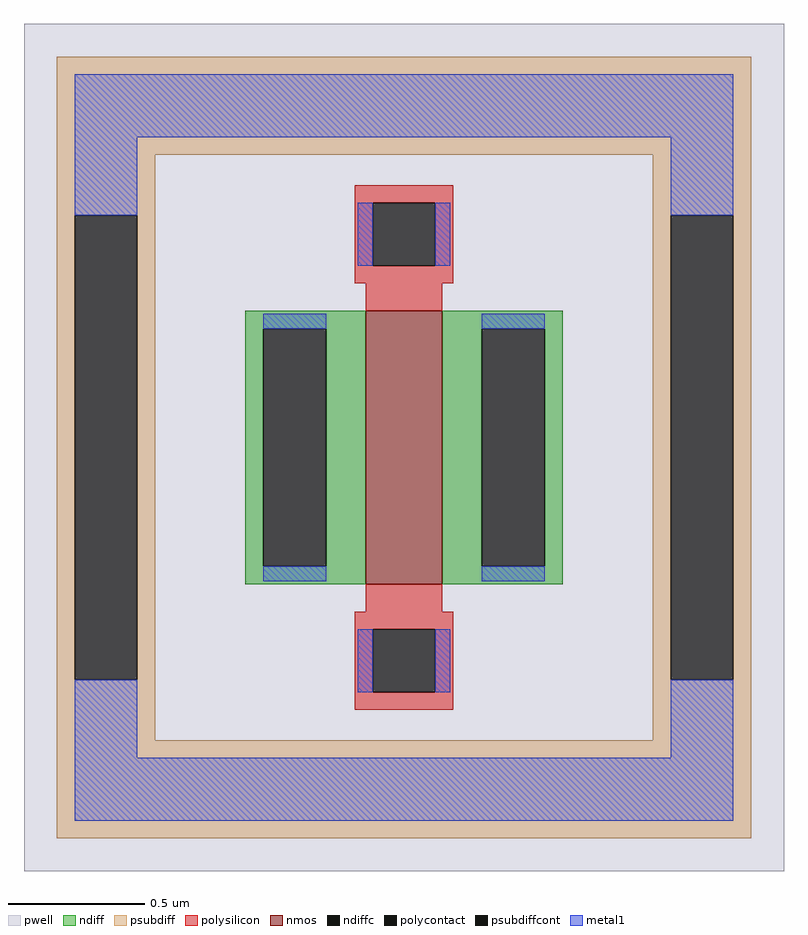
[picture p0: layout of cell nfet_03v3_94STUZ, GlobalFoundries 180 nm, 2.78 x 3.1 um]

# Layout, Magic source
magic
tech gf180mcuD
magscale 1 10
<< pwell >>
rect -278 -310 278 310
<< nmos >>
rect -28 -100 28 100
<< ndiff >>
rect -116 87 -28 100
rect -116 -87 -103 87
rect -57 -87 -28 87
rect -116 -100 -28 -87
rect 28 87 116 100
rect 28 -87 57 87
rect 103 -87 116 87
rect 28 -100 116 -87
<< ndiffc >>
rect -103 -87 -57 87
rect 57 -87 103 87
<< psubdiff >>
rect -254 214 254 286
rect -254 170 -182 214
rect -254 -170 -241 170
rect -195 -170 -182 170
rect 182 170 254 214
rect -254 -214 -182 -170
rect 182 -170 195 170
rect 241 -170 254 170
rect 182 -214 254 -170
rect -254 -286 254 -214
<< psubdiffcont >>
rect -241 -170 -195 170
rect 195 -170 241 170
<< polysilicon >>
rect -36 179 36 192
rect -36 133 -23 179
rect 23 133 36 179
rect -36 120 36 133
rect -28 100 28 120
rect -28 -120 28 -100
rect -36 -133 36 -120
rect -36 -179 -23 -133
rect 23 -179 36 -133
rect -36 -192 36 -179
<< polycontact >>
rect -23 133 23 179
rect -23 -179 23 -133
<< metal1 >>
rect -241 227 241 273
rect -241 170 -195 227
rect -34 133 -23 179
rect 23 133 34 179
rect 195 170 241 227
rect -103 87 -57 98
rect -103 -98 -57 -87
rect 57 87 103 98
rect 57 -98 103 -87
rect -241 -227 -195 -170
rect -34 -179 -23 -133
rect 23 -179 34 -133
rect 195 -227 241 -170
rect -241 -273 241 -227
<< properties >>
string FIXED_BBOX -218 -250 218 250
string gencell nfet_03v3
string library gf180mcu
string parameters w 1 l 0.280 m 1 nf 1 diffcov 100 polycov 100 guard 1 glc 1 grc 1 gtc 0 gbc 0 tbcov 100 rlcov 100 topc 1 botc 1 poverlap 0 doverlap 1 lmin 0.28 wmin 0.22 class mosfet full_metal 1 compatible {nfet_03v3 nfet_05v0 nfet_06v0 nfet_06v0_nvt}
<< end >>
